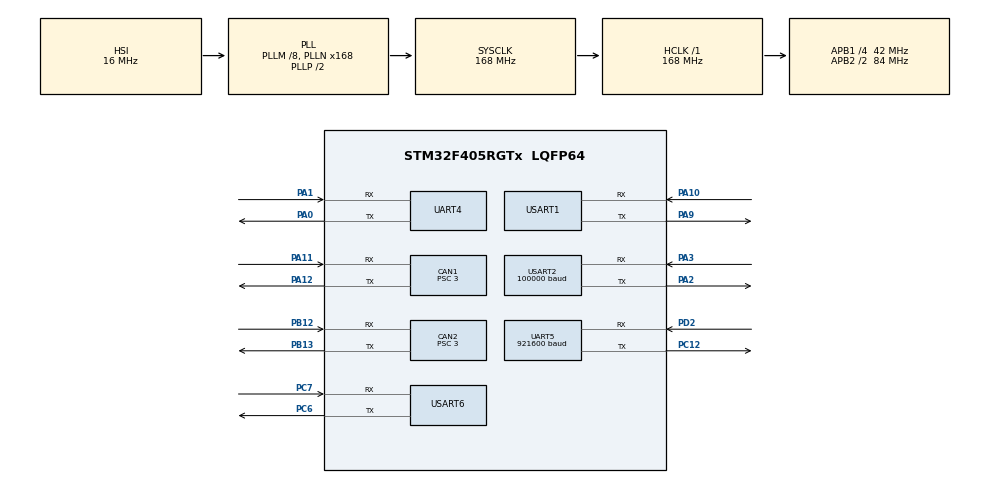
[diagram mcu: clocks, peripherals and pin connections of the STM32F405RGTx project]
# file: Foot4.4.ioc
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CAN1.ABOM=ENABLE
CAN1.BS1=CAN_BS1_9TQ
CAN1.BS2=CAN_BS2_4TQ
CAN1.CalculateBaudRate=1000000
CAN1.CalculateTimeBit=1000
CAN1.CalculateTimeQuantum=71.42857142857143
CAN1.Prescaler=3
CAN1.TXFP=ENABLE
CAN2.ABOM=ENABLE
CAN2.BS1=CAN_BS1_9TQ
CAN2.BS2=CAN_BS2_4TQ
CAN2.CalculateBaudRate=1000000
CAN2.CalculateTimeBit=1000
CAN2.CalculateTimeQuantum=71.42857142857143
CAN2.Prescaler=3
CAN2.TXFP=ENABLE
Dma.Request0=USART1_RX
Dma.Request1=USART1_TX
Dma.Request2=USART2_RX
Dma.Request3=UART4_RX
Dma.UART4_RX.3.Direction=DMA_PERIPH_TO_MEMORY
Dma.UART4_RX.3.FIFOMode=DMA_FIFOMODE_DISABLE
Dma.UART4_RX.3.Instance=DMA1_Stream2
Dma.UART4_RX.3.MemDataAlignment=DMA_MDATAALIGN_BYTE
Dma.UART4_RX.3.MemInc=DMA_MINC_ENABLE
Dma.UART4_RX.3.Mode=DMA_CIRCULAR
Dma.UART4_RX.3.PeriphDataAlignment=DMA_PDATAALIGN_BYTE
Dma.UART4_RX.3.PeriphInc=DMA_PINC_DISABLE
Dma.UART4_RX.3.Priority=DMA_PRIORITY_LOW
Dma.USART1_RX.0.Direction=DMA_PERIPH_TO_MEMORY
Dma.USART1_RX.0.FIFOMode=DMA_FIFOMODE_DISABLE
Dma.USART1_RX.0.Instance=DMA2_Stream2
Dma.USART1_RX.0.MemDataAlignment=DMA_MDATAALIGN_BYTE
Dma.USART1_RX.0.MemInc=DMA_MINC_ENABLE
Dma.USART1_RX.0.Mode=DMA_CIRCULAR
Dma.USART1_RX.0.PeriphDataAlignment=DMA_PDATAALIGN_BYTE
Dma.USART1_RX.0.PeriphInc=DMA_PINC_DISABLE
Dma.USART1_RX.0.Priority=DMA_PRIORITY_LOW
Dma.USART1_TX.1.Direction=DMA_MEMORY_TO_PERIPH
Dma.USART1_TX.1.FIFOMode=DMA_FIFOMODE_DISABLE
Dma.USART1_TX.1.Instance=DMA2_Stream7
Dma.USART1_TX.1.MemDataAlignment=DMA_MDATAALIGN_BYTE
Dma.USART1_TX.1.MemInc=DMA_MINC_ENABLE
Dma.USART1_TX.1.Mode=DMA_CIRCULAR
Dma.USART1_TX.1.PeriphDataAlignment=DMA_PDATAALIGN_BYTE
Dma.USART1_TX.1.PeriphInc=DMA_PINC_DISABLE
Dma.USART1_TX.1.Priority=DMA_PRIORITY_LOW
Dma.USART2_RX.2.Direction=DMA_PERIPH_TO_MEMORY
Dma.USART2_RX.2.FIFOMode=DMA_FIFOMODE_DISABLE
Dma.USART2_RX.2.Instance=DMA1_Stream5
Dma.USART2_RX.2.MemDataAlignment=DMA_MDATAALIGN_BYTE
Dma.USART2_RX.2.MemInc=DMA_MINC_ENABLE
Dma.USART2_RX.2.Mode=DMA_NORMAL
Dma.USART2_RX.2.PeriphDataAlignment=DMA_PDATAALIGN_BYTE
Dma.USART2_RX.2.PeriphInc=DMA_PINC_DISABLE
Dma.USART2_RX.2.Priority=DMA_PRIORITY_VERY_HIGH
FREERTOS.INCLUDE_vTaskDelayUntil=1
FREERTOS.Tasks01=defaultTask,0,128,StartDefaultTask,Default,NULL,Dynamic,NULL,NULL;CHASSIS,2,256,CHASSIS_TASK,Default,NULL,Dynamic,NULL,NULL;GIMBAL,2,256,GIMBAL_TASK,Default,NULL,Dynamic,NULL,NULL;SHOOT,2,256,SHOOT_TASK,Default,NULL,Dynamic,NULL,NULL;VISION,3,256,VISION_TASK,Default,NULL,Dynamic,NULL,NULL;GUSUI,3,256,GUSUI_TASK,Default,NULL,Dynamic,NULL,NULL;OFF_LINE,3,128,OFF_LINE_TASK,Default,NULL,Dynamic,NULL,NULL
IWDG.Prescaler=IWDG_PRESCALER_8
IWDG.Reload=2000
Mcu.Family=STM32F4
Mcu.Name=STM32F405RGTx
Mcu.Package=LQFP64
NVIC.CAN1_RX0_IRQn=true\:7\:0\:true\:false\:true\:true\:true\:true\:true
NVIC.CAN2_RX0_IRQn=true\:7\:0\:true\:false\:true\:true\:true\:true\:true
NVIC.DMA1_Stream2_IRQn=true\:5\:0\:false\:false\:true\:true\:false\:true\:true
NVIC.DMA1_Stream5_IRQn=true\:5\:0\:false\:false\:true\:true\:false\:true\:true
NVIC.DMA2_Stream2_IRQn=true\:5\:0\:false\:false\:true\:true\:false\:true\:true
NVIC.DMA2_Stream7_IRQn=true\:5\:0\:false\:false\:true\:true\:false\:true\:true
NVIC.PriorityGroup=NVIC_PRIORITYGROUP_4
NVIC.TIM2_IRQn=true\:5\:0\:false\:false\:true\:true\:true\:true\:true
NVIC.TIM8_TRG_COM_TIM14_IRQn=true\:15\:0\:false\:false\:true\:false\:false\:true\:true
NVIC.TimeBase=TIM8_TRG_COM_TIM14_IRQn
NVIC.TimeBaseIP=TIM14
NVIC.UART4_IRQn=true\:6\:0\:true\:false\:true\:true\:true\:true\:true
NVIC.UART5_IRQn=true\:6\:0\:true\:false\:true\:true\:true\:true\:true
NVIC.USART1_IRQn=true\:7\:0\:true\:false\:true\:true\:true\:true\:true
NVIC.USART2_IRQn=true\:6\:0\:true\:false\:true\:true\:true\:true\:true
NVIC.USART6_IRQn=true\:15\:0\:true\:false\:true\:true\:true\:true\:true
PA0-WKUP.Mode=Asynchronous
PA0-WKUP.Signal=UART4_TX
PA1.Mode=Asynchronous
PA1.Signal=UART4_RX
PA10.Mode=Asynchronous
PA10.Signal=USART1_RX
PA11.Mode=CAN_Activate
PA11.Signal=CAN1_RX
PA12.Mode=CAN_Activate
PA12.Signal=CAN1_TX
PA2.Mode=Asynchronous
PA2.Signal=USART2_TX
PA3.Mode=Asynchronous
PA3.Signal=USART2_RX
PA9.Mode=Asynchronous
PA9.Signal=USART1_TX
PB12.Mode=CAN_Activate
PB12.Signal=CAN2_RX
PB13.Mode=CAN_Activate
PB13.Signal=CAN2_TX
PC12.Mode=Asynchronous
PC12.Signal=UART5_TX
PC6.Mode=Asynchronous
PC6.Signal=USART6_TX
PC7.Mode=Asynchronous
PC7.Signal=USART6_RX
PD2.Mode=Asynchronous
PD2.Signal=UART5_RX
PH0-OSC_IN.Mode=HSE-External-Oscillator
PH0-OSC_IN.Signal=RCC_OSC_IN
PH1-OSC_OUT.Mode=HSE-External-Oscillator
PH1-OSC_OUT.Signal=RCC_OSC_OUT
ProjectManager.HeapSize=0x200
ProjectManager.StackSize=0x400
ProjectManager.TargetToolchain=MDK-ARM V5.32
RCC.48MHZClocksFreq_Value=84000000
RCC.AHBFreq_Value=168000000
RCC.APB1CLKDivider=RCC_HCLK_DIV4
RCC.APB1Freq_Value=42000000
RCC.APB1TimFreq_Value=84000000
RCC.APB2CLKDivider=RCC_HCLK_DIV2
RCC.APB2Freq_Value=84000000
RCC.APB2TimFreq_Value=168000000
RCC.CortexFreq_Value=168000000
RCC.HCLKFreq_Value=168000000
RCC.HSE_VALUE=25000000
RCC.HSI_VALUE=16000000
RCC.LSE_VALUE=32768
RCC.PLLM=8
RCC.PLLN=168
RCC.SYSCLKFreq_VALUE=168000000
RCC.SYSCLKSource=RCC_SYSCLKSOURCE_PLLCLK
RCC.VCOOutputFreq_Value=336000000
TIM2.Period=3000-1
TIM2.Prescaler=84-1
UART4.VirtualMode=Asynchronous
UART5.BaudRate=921600
UART5.VirtualMode=Asynchronous
USART1.VirtualMode=VM_ASYNC
USART2.BaudRate=100000
USART2.Mode=MODE_RX
USART2.Parity=PARITY_EVEN
USART2.VirtualMode=VM_ASYNC
USART2.WordLength=WORDLENGTH_9B
USART6.VirtualMode=VM_ASYNC
VP_FREERTOS_VS_CMSIS_V1.Mode=CMSIS_V1
VP_IWDG_VS_IWDG.Mode=IWDG_Activate
VP_SYS_VS_tim14.Mode=TIM14
VP_TIM2_VS_ClockSourceINT.Mode=Internal
board=custom

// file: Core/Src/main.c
/* USER CODE BEGIN Header */
/**
  ******************************************************************************
  * @file           : main.c
  * @brief          : Main program body
  ******************************************************************************
  * @attention
  *
  * Copyright (c) 2023 STMicroelectronics.
  * All rights reserved.
  *
  * This software is licensed under terms that can be found in the LICENSE file
  * in the root directory of this software component.
  * If no LICENSE file comes with this software, it is provided AS-IS.
  *
  ******************************************************************************
  */
/* USER CODE END Header */
#include "main.h"
#include "cmsis_os.h"
#include "can.h"
#include "dma.h"
#include "iwdg.h"
#include "tim.h"
#include "usart.h"
#include "gpio.h"

/* USER CODE BEGIN Includes */
#include "driver.h"
#include "can_receive.h"

#include "packet.h"
#include "imu_data_decode.h"
#include "bsp_can.h"
#include "bsp_usart.h"
#include "remote_receive.h"
#include "CAN_receive.h"
#include "chassis_task.h"
#include "gimbal_task.h"
#include "shoot_task.h"
#include "vofa_task.h"
/* USER CODE END Includes */

/* USER CODE BEGIN PTD */
	extern uint8_t sbus_rx_buf[2][SBUS_RX_BUF_NUM];

/* USER CODE END PTD */

void SystemClock_Config(void);
void MX_FREERTOS_Init(void);

int main(void)
{

  /* MCU Configuration--------------------------------------------------------*/

  /* Reset of all peripherals, Initializes the Flash interface and the Systick. */
  HAL_Init();

  /* Configure the system clock */
  SystemClock_Config();

  /* Initialize all configured peripherals */
  MX_GPIO_Init();
  MX_DMA_Init();
  MX_TIM2_Init();
  MX_USART1_UART_Init();
  MX_USART2_UART_Init();
  MX_UART4_Init();
  MX_USART6_UART_Init();
  MX_CAN1_Init();
  MX_CAN2_Init();
//  MX_IWDG_Init();
  MX_UART5_Init();
  /* USER CODE BEGIN 2 */
	chassis_pid_init();
	gimbal_pid_init();
	shoot_pid_init();

	Driver_Init();

	HAL_TIM_Base_Start_IT(&htim2);
  /* USER CODE END 2 */

  /* Call init function for freertos objects (in freertos.c) */
  MX_FREERTOS_Init();

  /* Start scheduler */
  osKernelStart();

  /* We should never get here as control is now taken by the scheduler */
  /* Infinite loop */
  while (1)
  {

  }
}

void SystemClock_Config(void)
{
  RCC_OscInitTypeDef RCC_OscInitStruct = {0};
  RCC_ClkInitTypeDef RCC_ClkInitStruct = {0};

  /** Configure the main internal regulator output voltage
  */
  __HAL_RCC_PWR_CLK_ENABLE();
  __HAL_PWR_VOLTAGESCALING_CONFIG(PWR_REGULATOR_VOLTAGE_SCALE1);

  /** Initializes the RCC Oscillators according to the specified parameters
  * in the RCC_OscInitTypeDef structure.
  */
  RCC_OscInitStruct.OscillatorType = RCC_OSCILLATORTYPE_HSI|RCC_OSCILLATORTYPE_LSI;
  RCC_OscInitStruct.HSIState = RCC_HSI_ON;
  RCC_OscInitStruct.HSICalibrationValue = RCC_HSICALIBRATION_DEFAULT;
  RCC_OscInitStruct.LSIState = RCC_LSI_ON;
  RCC_OscInitStruct.PLL.PLLState = RCC_PLL_ON;
  RCC_OscInitStruct.PLL.PLLSource = RCC_PLLSOURCE_HSI;
  RCC_OscInitStruct.PLL.PLLM = 8;
  RCC_OscInitStruct.PLL.PLLN = 168;
  RCC_OscInitStruct.PLL.PLLP = RCC_PLLP_DIV2;
  RCC_OscInitStruct.PLL.PLLQ = 4;
  if (HAL_RCC_OscConfig(&RCC_OscInitStruct) != HAL_OK)
  {
    Error_Handler();
  }

  /** Initializes the CPU, AHB and APB buses clocks
  */
  RCC_ClkInitStruct.ClockType = RCC_CLOCKTYPE_HCLK|RCC_CLOCKTYPE_SYSCLK
                              |RCC_CLOCKTYPE_PCLK1|RCC_CLOCKTYPE_PCLK2;
  RCC_ClkInitStruct.SYSCLKSource = RCC_SYSCLKSOURCE_PLLCLK;
  RCC_ClkInitStruct.AHBCLKDivider = RCC_SYSCLK_DIV1;
  RCC_ClkInitStruct.APB1CLKDivider = RCC_HCLK_DIV4;
  RCC_ClkInitStruct.APB2CLKDivider = RCC_HCLK_DIV2;

  if (HAL_RCC_ClockConfig(&RCC_ClkInitStruct, FLASH_LATENCY_5) != HAL_OK)
  {
    Error_Handler();
  }
}

void HAL_TIM_PeriodElapsedCallback(TIM_HandleTypeDef *htim)
{
  /* USER CODE BEGIN Callback 0 */
  if (htim->Instance == TIM2) {
	imu_ctrl();
	CAN_cmd_capacitance(100);
  }
  /* USER CODE END Callback 0 */
  if (htim->Instance == TIM14) {
    HAL_IncTick();
  }
}

void Error_Handler(void)
{
  __disable_irq();
  while (1)
  {
  }
}

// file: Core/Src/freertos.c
/* USER CODE BEGIN Header */
/**
  ******************************************************************************
  * File Name          : freertos.c
  * Description        : Code for freertos applications
  ******************************************************************************
  * @attention
  *
  * Copyright (c) 2023 STMicroelectronics.
  * All rights reserved.
  *
  * This software is licensed under terms that can be found in the LICENSE file
  * in the root directory of this software component.
  * If no LICENSE file comes with this software, it is provided AS-IS.
  *
  ******************************************************************************
  */
/* USER CODE END Header */

#include "FreeRTOS.h"
#include "task.h"
#include "main.h"
#include "cmsis_os.h"

/* USER CODE BEGIN Includes */
#include "packet.h"
#include "imu_data_decode.h"
#include "bsp_can.h"
#include "bsp_usart.h"
#include "stm32f4xx_it.h"
#include "remote_receive.h"

#include "chassis_task.h"
#include "gimbal_task.h"
#include "shoot_task.h"
#include "vofa_task.h"
#include "visual_receive_task.h"
/* USER CODE END Includes */

/* USER CODE BEGIN PTD */
extern uint32_t dbus_imu_off_line_time;
extern uint32_t imu_off_line_time;

/* USER CODE END PTD */

/* USER CODE BEGIN PD */
extern IWDG_HandleTypeDef hiwdg;

/* USER CODE END PD */

osThreadId defaultTaskHandle;
osThreadId CHASSISHandle;
osThreadId GIMBALHandle;
osThreadId SHOOTHandle;
osThreadId VISIONHandle;
osThreadId GUSUIHandle;
osThreadId OFF_LINEHandle;

void StartDefaultTask(void const * argument);
void CHASSIS_TASK(void const * argument);
void GIMBAL_TASK(void const * argument);
void SHOOT_TASK(void const * argument);
void VISION_TASK(void const * argument);
void GUSUI_TASK(void const * argument);
void OFF_LINE_TASK(void const * argument);

void MX_FREERTOS_Init(void); /* (MISRA C 2004 rule 8.1) */

/* GetIdleTaskMemory prototype (linked to static allocation support) */
void vApplicationGetIdleTaskMemory( StaticTask_t **ppxIdleTaskTCBBuffer, StackType_t **ppxIdleTaskStackBuffer, uint32_t *pulIdleTaskStackSize );

/* USER CODE BEGIN GET_IDLE_TASK_MEMORY */
static StaticTask_t xIdleTaskTCBBuffer;
static StackType_t xIdleStack[configMINIMAL_STACK_SIZE];

void vApplicationGetIdleTaskMemory( StaticTask_t **ppxIdleTaskTCBBuffer, StackType_t **ppxIdleTaskStackBuffer, uint32_t *pulIdleTaskStackSize )
{
  *ppxIdleTaskTCBBuffer = &xIdleTaskTCBBuffer;
  *ppxIdleTaskStackBuffer = &xIdleStack[0];
  *pulIdleTaskStackSize = configMINIMAL_STACK_SIZE;
  /* place for user code */
}
/* USER CODE END GET_IDLE_TASK_MEMORY */

void MX_FREERTOS_Init(void) {

  /* Create the thread(s) */
  /* definition and creation of defaultTask */
  osThreadDef(defaultTask, StartDefaultTask, osPriorityNormal, 0, 128);
  defaultTaskHandle = osThreadCreate(osThread(defaultTask), NULL);

  /* definition and creation of CHASSIS */
  osThreadDef(CHASSIS, CHASSIS_TASK, osPriorityHigh, 0, 256);
  CHASSISHandle = osThreadCreate(osThread(CHASSIS), NULL);

  /* definition and creation of GIMBAL */
  osThreadDef(GIMBAL, GIMBAL_TASK, osPriorityHigh, 0, 256);
  GIMBALHandle = osThreadCreate(osThread(GIMBAL), NULL);

  /* definition and creation of SHOOT */
  osThreadDef(SHOOT, SHOOT_TASK, osPriorityHigh, 0, 256);
  SHOOTHandle = osThreadCreate(osThread(SHOOT), NULL);

  /* definition and creation of VISION */
  osThreadDef(VISION, VISION_TASK, osPriorityRealtime, 0, 256);
  VISIONHandle = osThreadCreate(osThread(VISION), NULL);

  /* definition and creation of GUSUI */
  osThreadDef(GUSUI, GUSUI_TASK, osPriorityRealtime, 0, 256);
  GUSUIHandle = osThreadCreate(osThread(GUSUI), NULL);

  /* definition and creation of OFF_LINE */
  osThreadDef(OFF_LINE, OFF_LINE_TASK, osPriorityRealtime, 0, 128);
  OFF_LINEHandle = osThreadCreate(osThread(OFF_LINE), NULL);

}

void StartDefaultTask(void const * argument)
{
  /* USER CODE BEGIN StartDefaultTask */
  /* Infinite loop */
  for(;;)
  {
    osDelay(2);
  }
  /* USER CODE END StartDefaultTask */
}

void CHASSIS_TASK(void const * argument)
{
  /* USER CODE BEGIN CHASSIS_TASK */
  /* Infinite loop */
  for(;;)
  {
		chassis_ctrl();
		osDelay(2);
  }
  /* USER CODE END CHASSIS_TASK */
}

void GIMBAL_TASK(void const * argument)
{
  /* USER CODE BEGIN GIMBAL_TASK */
  /* Infinite loop */
  for(;;)
  {
		gimbal_ctrl();
		osDelay(2);
  }
  /* USER CODE END GIMBAL_TASK */
}

void SHOOT_TASK(void const * argument)
{
  /* USER CODE BEGIN SHOOT_TASK */
  /* Infinite loop */
  for(;;)
  {
		shoot_ctrl();
		osDelay(2);
  }
  /* USER CODE END SHOOT_TASK */
}

void VISION_TASK(void const * argument)
{
  /* USER CODE BEGIN VISION_TASK */
  /* Infinite loop */
  for(;;)
  {
		visual_send_date();
		osDelay(3);
  }
  /* USER CODE END VISION_TASK */
}

void GUSUI_TASK(void const * argument)
{
  /* USER CODE BEGIN GUSUI_TASK */
//		uint32_t currentTime;
  /* Infinite loop */
  for(;;)
  {
//		currentTime = xTaskGetTickCount();//当前系统时间
		GUSIUI();
		vTaskSuspend(OFF_LINEHandle);//挂起任务

//		vTaskDelayUntil(&currentTime, 10);//绝对延时
		osDelay(3);

  }
  /* USER CODE END GUSUI_TASK */
}

void OFF_LINE_TASK(void const * argument)
{
  /* USER CODE BEGIN OFF_LINE_TASK */
  /* Infinite loop */
  for(;;)
  {
//		currentTime = xTaskGetTickCount();//当前系统时间
//		if(HAL_GetTick()-imu_off_line_time > 500)
//		{
//
//		}
//		{
//			HAL_IWDG_Refresh(&hiwdg);//执行喂狗操作
//		}
		osDelay(3);

  }
  /* USER CODE END OFF_LINE_TASK */
}
